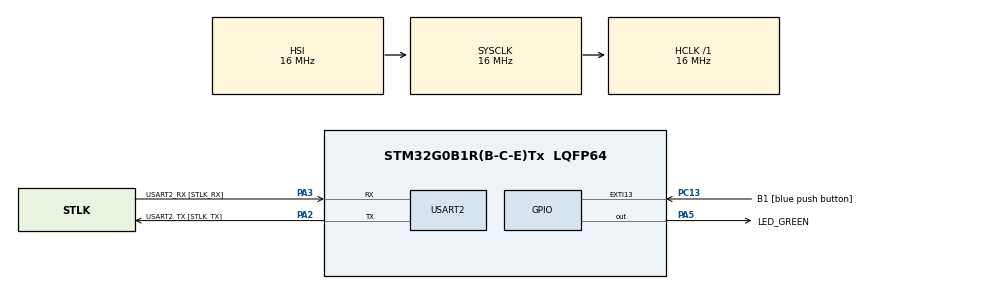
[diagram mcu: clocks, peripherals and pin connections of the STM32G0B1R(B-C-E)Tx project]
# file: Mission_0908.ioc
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Mcu.Family=STM32G0
Mcu.Name=STM32G0B1R(B-C-E)Tx
Mcu.Package=LQFP64
PA13.GPIO_Label=TMS
PA13.Mode=Serial_Wire
PA13.Signal=SYS_SWDIO
PA14-BOOT0.GPIO_Label=TCK
PA14-BOOT0.Mode=Serial_Wire
PA14-BOOT0.Signal=SYS_SWCLK
PA2.GPIO_Label=USART2_TX [STLK_TX]
PA2.Mode=Asynchronous
PA2.Signal=USART2_TX
PA3.GPIO_Label=USART2_RX [STLK_RX]
PA3.Mode=Asynchronous
PA3.Signal=USART2_RX
PA5.GPIO_Label=LED_GREEN
PA5.GPIO_Speed=GPIO_SPEED_FREQ_HIGH
PA5.Signal=GPIO_Output
PC13.GPIO_Label=B1 [blue push button]
PC13.Signal=GPXTI13
PC14-OSC32_IN\ (PC14).Mode=LSE-External-Oscillator
PC14-OSC32_IN\ (PC14).Signal=RCC_OSC32_IN
PC15-OSC32_OUT\ (PC15).Mode=LSE-External-Oscillator
PC15-OSC32_OUT\ (PC15).Signal=RCC_OSC32_OUT
PF0-OSC_IN\ (PF0).GPIO_Label=MCO
PF0-OSC_IN\ (PF0).Mode=HSE-External-Clock-Source
PF0-OSC_IN\ (PF0).Signal=RCC_OSC_IN
ProjectManager.HeapSize=0x200
ProjectManager.StackSize=0x400
ProjectManager.TargetToolchain=STM32CubeIDE
RCC.AHBFreq_Value=16000000
RCC.CortexFreq_Value=16000000
RCC.EXTERNAL_CLOCK_VALUE=12288000
RCC.HCLKFreq_Value=16000000
RCC.HSE_VALUE=8000000
RCC.HSI48_VALUE=48000000
RCC.HSI_VALUE=16000000
RCC.SYSCLKFreq_VALUE=16000000
RCC.USBFreq_Value=48000000
RCC.VCOOutputFreq_Value=128000000
USART2.VirtualMode-Asynchronous=VM_ASYNC
board=NUCLEO-G0B1RE

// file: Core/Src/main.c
/* USER CODE BEGIN Header */
/**
  ******************************************************************************
  * @file           : main.c
  * @brief          : Main program body
  ******************************************************************************
  * @attention
  *
  * Copyright (c) 2026 STMicroelectronics.
  * All rights reserved.
  *
  * This software is licensed under terms that can be found in the LICENSE file
  * in the root directory of this software component.
  * If no LICENSE file comes with this software, it is provided AS-IS.
  *
  ******************************************************************************
  */
/* USER CODE END Header */
#include "main.h"

UART_HandleTypeDef huart2;

void SystemClock_Config(void);
static void MX_GPIO_Init(void);
static void MX_USART2_UART_Init(void);

/* USER CODE BEGIN 0 */
void LED_on_off(void)
{
	HAL_GPIO_WritePin(GPIOA, GPIO_PIN_5, GPIO_PIN_SET);
	HAL_GPIO_WritePin(GPIOA, GPIO_PIN_6, GPIO_PIN_SET);
    HAL_Delay(300);
	HAL_GPIO_WritePin(GPIOA, GPIO_PIN_5, GPIO_PIN_RESET);
	HAL_GPIO_WritePin(GPIOA, GPIO_PIN_6, GPIO_PIN_RESET);
    HAL_Delay(700);
}
/* USER CODE END 0 */

int main(void)
{

  /* MCU Configuration--------------------------------------------------------*/

  /* Reset of all peripherals, Initializes the Flash interface and the Systick. */
  HAL_Init();

  /* Configure the system clock */
  SystemClock_Config();

  /* Initialize all configured peripherals */
  MX_GPIO_Init();
  MX_USART2_UART_Init();

  /* Infinite loop */
  while (1)
  {
    GPIO_PinState sw1;
    GPIO_PinState sw2;
	sw1 = HAL_GPIO_ReadPin(GPIOA, GPIO_PIN_10);
    sw2 = HAL_GPIO_ReadPin(GPIOB, GPIO_PIN_3);

    if (sw1 == GPIO_PIN_RESET && sw2 == GPIO_PIN_RESET){
    	LED_on_off();
    }
    else if (sw1 == GPIO_PIN_RESET && sw2 != GPIO_PIN_RESET){
    	HAL_GPIO_WritePin(GPIOA, GPIO_PIN_5, GPIO_PIN_SET);
	}
    else if (sw1 != GPIO_PIN_RESET && sw2 == GPIO_PIN_RESET){
    	HAL_GPIO_WritePin(GPIOA, GPIO_PIN_6, GPIO_PIN_SET);
    }
	else {
		HAL_GPIO_WritePin(GPIOA, GPIO_PIN_5, GPIO_PIN_RESET);
		HAL_GPIO_WritePin(GPIOA, GPIO_PIN_6, GPIO_PIN_RESET);
	}

  }
}

void SystemClock_Config(void)
{
  RCC_OscInitTypeDef RCC_OscInitStruct = {0};
  RCC_ClkInitTypeDef RCC_ClkInitStruct = {0};

  /** Configure the main internal regulator output voltage
  */
  HAL_PWREx_ControlVoltageScaling(PWR_REGULATOR_VOLTAGE_SCALE1);

  /** Initializes the RCC Oscillators according to the specified parameters
  * in the RCC_OscInitTypeDef structure.
  */
  RCC_OscInitStruct.OscillatorType = RCC_OSCILLATORTYPE_HSI;
  RCC_OscInitStruct.HSIState = RCC_HSI_ON;
  RCC_OscInitStruct.HSIDiv = RCC_HSI_DIV1;
  RCC_OscInitStruct.HSICalibrationValue = RCC_HSICALIBRATION_DEFAULT;
  RCC_OscInitStruct.PLL.PLLState = RCC_PLL_NONE;
  if (HAL_RCC_OscConfig(&RCC_OscInitStruct) != HAL_OK)
  {
    Error_Handler();
  }

  /** Initializes the CPU, AHB and APB buses clocks
  */
  RCC_ClkInitStruct.ClockType = RCC_CLOCKTYPE_HCLK|RCC_CLOCKTYPE_SYSCLK
                              |RCC_CLOCKTYPE_PCLK1;
  RCC_ClkInitStruct.SYSCLKSource = RCC_SYSCLKSOURCE_HSI;
  RCC_ClkInitStruct.AHBCLKDivider = RCC_SYSCLK_DIV1;
  RCC_ClkInitStruct.APB1CLKDivider = RCC_HCLK_DIV1;

  if (HAL_RCC_ClockConfig(&RCC_ClkInitStruct, FLASH_LATENCY_0) != HAL_OK)
  {
    Error_Handler();
  }
}

static void MX_USART2_UART_Init(void)
{

  huart2.Instance = USART2;
  huart2.Init.BaudRate = 115200;
  huart2.Init.WordLength = UART_WORDLENGTH_8B;
  huart2.Init.StopBits = UART_STOPBITS_1;
  huart2.Init.Parity = UART_PARITY_NONE;
  huart2.Init.Mode = UART_MODE_TX_RX;
  huart2.Init.HwFlowCtl = UART_HWCONTROL_NONE;
  huart2.Init.OverSampling = UART_OVERSAMPLING_16;
  huart2.Init.OneBitSampling = UART_ONE_BIT_SAMPLE_DISABLE;
  huart2.Init.ClockPrescaler = UART_PRESCALER_DIV1;
  huart2.AdvancedInit.AdvFeatureInit = UART_ADVFEATURE_NO_INIT;
  if (HAL_UART_Init(&huart2) != HAL_OK)
  {
    Error_Handler();
  }
  if (HAL_UARTEx_SetTxFifoThreshold(&huart2, UART_TXFIFO_THRESHOLD_1_8) != HAL_OK)
  {
    Error_Handler();
  }
  if (HAL_UARTEx_SetRxFifoThreshold(&huart2, UART_RXFIFO_THRESHOLD_1_8) != HAL_OK)
  {
    Error_Handler();
  }
  if (HAL_UARTEx_DisableFifoMode(&huart2) != HAL_OK)
  {
    Error_Handler();
  }

}

static void MX_GPIO_Init(void)
{
  GPIO_InitTypeDef GPIO_InitStruct = {0};

  /* GPIO Ports Clock Enable */
  __HAL_RCC_GPIOC_CLK_ENABLE();
  __HAL_RCC_GPIOF_CLK_ENABLE();
  __HAL_RCC_GPIOA_CLK_ENABLE();

  /*Configure GPIO pin Output Level */
  HAL_GPIO_WritePin(LED_GREEN_GPIO_Port, LED_GREEN_Pin, GPIO_PIN_RESET);

  /*Configure GPIO pin : B1_Pin */
  GPIO_InitStruct.Pin = B1_Pin;
  GPIO_InitStruct.Mode = GPIO_MODE_IT_RISING;
  GPIO_InitStruct.Pull = GPIO_NOPULL;
  HAL_GPIO_Init(B1_GPIO_Port, &GPIO_InitStruct);

  /*Configure GPIO pin : LED_GREEN_Pin */
  GPIO_InitStruct.Pin = LED_GREEN_Pin;
  GPIO_InitStruct.Mode = GPIO_MODE_OUTPUT_PP;
  GPIO_InitStruct.Pull = GPIO_NOPULL;
  GPIO_InitStruct.Speed = GPIO_SPEED_FREQ_HIGH;
  HAL_GPIO_Init(LED_GREEN_GPIO_Port, &GPIO_InitStruct);

/* USER CODE BEGIN MX_GPIO_Init_2 */
  /*Configure GPIO pin : GPIOA P10 -> input */
  GPIO_InitStruct.Pin = GPIO_PIN_10;
  GPIO_InitStruct.Mode = GPIO_MODE_INPUT;
  GPIO_InitStruct.Pull = GPIO_NOPULL;
  HAL_GPIO_Init(GPIOA, &GPIO_InitStruct);

  /* GPIO B Ports Clock Enable */
  __HAL_RCC_GPIOB_CLK_ENABLE();

  /*Configure GPIO pin : GPIOB P3 -> input */
  GPIO_InitStruct.Pin = GPIO_PIN_3;
  GPIO_InitStruct.Mode = GPIO_MODE_INPUT;
  GPIO_InitStruct.Pull = GPIO_NOPULL;
  HAL_GPIO_Init(GPIOB, &GPIO_InitStruct);

  /*Configure GPIO pin : GPIO_PIN_6 */
  GPIO_InitStruct.Pin = GPIO_PIN_6;
  GPIO_InitStruct.Mode = GPIO_MODE_OUTPUT_PP;
  GPIO_InitStruct.Pull = GPIO_NOPULL;
  GPIO_InitStruct.Speed = GPIO_SPEED_FREQ_HIGH;
  HAL_GPIO_Init(GPIOA, &GPIO_InitStruct);

/* USER CODE END MX_GPIO_Init_2 */
}

void Error_Handler(void)
{
  __disable_irq();
  while (1)
  {
  }
}
